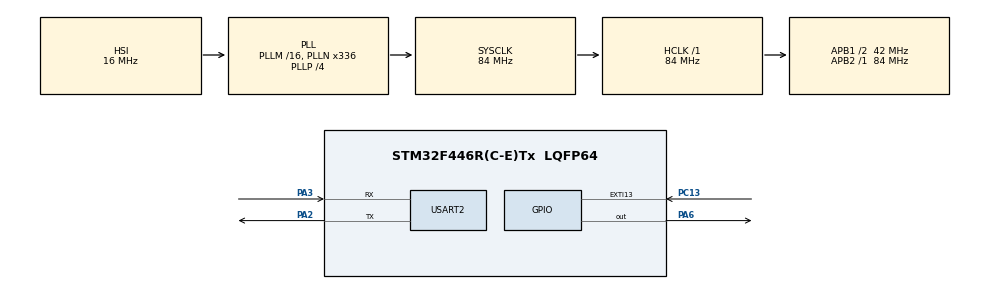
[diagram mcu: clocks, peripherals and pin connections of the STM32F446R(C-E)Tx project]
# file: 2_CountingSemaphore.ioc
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FREERTOS.CountingSemaphores01=CountingSem01,2,Dynamic,NULL,0
FREERTOS.Tasks01=defaultTask,0,128,StartDefaultTask,Default,NULL,Dynamic,NULL,NULL
FREERTOS.configUSE_COUNTING_SEMAPHORES=1
FREERTOS.configUSE_NEWLIB_REENTRANT=1
Mcu.Family=STM32F4
Mcu.Name=STM32F446R(C-E)Tx
Mcu.Package=LQFP64
NVIC.EXTI15_10_IRQn=true\:0\:0\:false\:false\:true\:false\:true\:true\:true
NVIC.PriorityGroup=NVIC_PRIORITYGROUP_4
NVIC.TIM6_DAC_IRQn=true\:15\:0\:false\:false\:true\:false\:false\:true\:true
NVIC.TimeBase=TIM6_DAC_IRQn
NVIC.TimeBaseIP=TIM6
PA2.Mode=Asynchronous
PA2.Signal=USART2_TX
PA3.Mode=Asynchronous
PA3.Signal=USART2_RX
PA6.Signal=GPIO_Output
PC13.Signal=GPXTI13
ProjectManager.HeapSize=0x200
ProjectManager.StackSize=0x400
ProjectManager.TargetToolchain=STM32CubeIDE
RCC.AHBFreq_Value=84000000
RCC.APB1CLKDivider=RCC_HCLK_DIV2
RCC.APB1Freq_Value=42000000
RCC.APB1TimFreq_Value=84000000
RCC.APB2Freq_Value=84000000
RCC.APB2TimFreq_Value=84000000
RCC.CortexFreq_Value=84000000
RCC.FLatency-AdvancedSettings=FLASH_LATENCY_2
RCC.HCLKFreq_Value=84000000
RCC.HSE_VALUE=8000000
RCC.HSI_VALUE=16000000
RCC.LSE_VALUE=32768
RCC.PLLN=336
RCC.PLLP=RCC_PLLP_DIV4
RCC.SYSCLKFreq_VALUE=84000000
RCC.SYSCLKSource=RCC_SYSCLKSOURCE_PLLCLK
RCC.USBFreq_Value=168000000
RCC.VCOOutputFreq_Value=336000000
USART2.VirtualMode=VM_ASYNC
VP_FREERTOS_VS_CMSIS_V1.Mode=CMSIS_V1
VP_SYS_VS_tim6.Mode=TIM6
board=NUCLEO-F446RE

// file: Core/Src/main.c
/* USER CODE BEGIN Header */
/**
  ******************************************************************************
  * @file           : main.c
  * @brief          : Main program body
  ******************************************************************************
  * @attention
  *
  * Copyright (c) 2026 STMicroelectronics.
  * All rights reserved.
  *
  * This software is licensed under terms that can be found in the LICENSE file
  * in the root directory of this software component.
  * If no LICENSE file comes with this software, it is provided AS-IS.
  *
  ******************************************************************************
  */
/* USER CODE END Header */
#include "main.h"

/* USER CODE BEGIN Includes */
#include "FreeRTOS.h"
#include "task.h"
#include "semphr.h"

/* USER CODE END Includes */

UART_HandleTypeDef huart2;

/* USER CODE BEGIN PV */
/************************Semaphore and Tasks Handles ********************************/
SemaphoreHandle_t CountingSemaphore_handle;

TaskHandle_t Task01_handle;
TaskHandle_t Task02_handle;
TaskHandle_t Task03_handle;

/********************* Task Definitions and Declarations ************************************/
void Task01_Entry(void* arguments){

	for(;;){
		// take the semaphore and do something
		xSemaphoreTake(CountingSemaphore_handle, portMAX_DELAY); //wait until semaphore is active
		HAL_UART_Transmit(&huart2, (uint8_t *)"Task 1 Running\r\n", 20, 10);
		vTaskDelay(pdMS_TO_TICKS(400)); //400 ms delay
		xSemaphoreGive(CountingSemaphore_handle);

		vTaskDelay(pdMS_TO_TICKS(500)); //block for 500ms
	}
}
void Task02_Entry(void* arguments){
	for(;;){
		// take the semaphore and do something
		xSemaphoreTake(CountingSemaphore_handle, portMAX_DELAY); //wait until semaphore is active
		HAL_UART_Transmit(&huart2, (uint8_t *)"Task 2 Running\r\n", 20, 10);
		vTaskDelay(pdMS_TO_TICKS(500)); //500 ms delay
		xSemaphoreGive(CountingSemaphore_handle);

		vTaskDelay(pdMS_TO_TICKS(500)); //block for 500ms
	}
}
void Task03_Entry(void* arguments){
	for(;;){
		// take the semaphore and do something
		xSemaphoreTake(CountingSemaphore_handle, portMAX_DELAY); //wait until semaphore is active
		HAL_UART_Transmit(&huart2, (uint8_t *)"Task 3 Running\r\n", 20, 10);
		vTaskDelay(pdMS_TO_TICKS(600)); //600 ms delay
		xSemaphoreGive(CountingSemaphore_handle);

		vTaskDelay(pdMS_TO_TICKS(500)); //block for 500ms
	}
}
/* USER CODE END PV */

void SystemClock_Config(void);
static void MX_GPIO_Init(void);
static void MX_USART2_UART_Init(void);
void StartDefaultTask(void const * argument);

int main(void)
{

  /* MCU Configuration--------------------------------------------------------*/

  /* Reset of all peripherals, Initializes the Flash interface and the Systick. */
  HAL_Init();

  /* Configure the system clock */
  SystemClock_Config();

  /* Initialize all configured peripherals */
  MX_GPIO_Init();
  MX_USART2_UART_Init();
  /* USER CODE BEGIN 2 */

  /******* Create Counting Semaphore **************/
  uint8_t Max_Count = 2;
  CountingSemaphore_handle = xSemaphoreCreateCounting(Max_Count, Max_Count);

  if(CountingSemaphore_handle == NULL){
	  HAL_UART_Transmit(&huart2, (uint8_t *)"Semaphore Not created\r\n", 23, 10);
  }else{
	  HAL_UART_Transmit(&huart2, (uint8_t *)"Semaphore created\r\n", 19, 10);
  }

  /******* Create Tasks **************/
  xTaskCreate(Task01_Entry, "Task01", 128, NULL, 3, &Task01_handle);
  xTaskCreate(Task02_Entry, "Task02", 128, NULL, 2, &Task02_handle);
  xTaskCreate(Task03_Entry, "Task03", 128, NULL, 1, &Task03_handle);

  /************Start the scheduler****/
  vTaskStartScheduler();

  /* USER CODE END 2 */

  /* We should never get here as control is now taken by the scheduler */

  /* Infinite loop */
  while (1)
  {

  }
}

void SystemClock_Config(void)
{
  RCC_OscInitTypeDef RCC_OscInitStruct = {0};
  RCC_ClkInitTypeDef RCC_ClkInitStruct = {0};

  /** Configure the main internal regulator output voltage
  */
  __HAL_RCC_PWR_CLK_ENABLE();
  __HAL_PWR_VOLTAGESCALING_CONFIG(PWR_REGULATOR_VOLTAGE_SCALE3);

  /** Initializes the RCC Oscillators according to the specified parameters
  * in the RCC_OscInitTypeDef structure.
  */
  RCC_OscInitStruct.OscillatorType = RCC_OSCILLATORTYPE_HSI;
  RCC_OscInitStruct.HSIState = RCC_HSI_ON;
  RCC_OscInitStruct.HSICalibrationValue = RCC_HSICALIBRATION_DEFAULT;
  RCC_OscInitStruct.PLL.PLLState = RCC_PLL_ON;
  RCC_OscInitStruct.PLL.PLLSource = RCC_PLLSOURCE_HSI;
  RCC_OscInitStruct.PLL.PLLM = 16;
  RCC_OscInitStruct.PLL.PLLN = 336;
  RCC_OscInitStruct.PLL.PLLP = RCC_PLLP_DIV4;
  RCC_OscInitStruct.PLL.PLLQ = 2;
  RCC_OscInitStruct.PLL.PLLR = 2;
  if (HAL_RCC_OscConfig(&RCC_OscInitStruct) != HAL_OK)
  {
    Error_Handler();
  }

  /** Initializes the CPU, AHB and APB buses clocks
  */
  RCC_ClkInitStruct.ClockType = RCC_CLOCKTYPE_HCLK|RCC_CLOCKTYPE_SYSCLK
                              |RCC_CLOCKTYPE_PCLK1|RCC_CLOCKTYPE_PCLK2;
  RCC_ClkInitStruct.SYSCLKSource = RCC_SYSCLKSOURCE_PLLCLK;
  RCC_ClkInitStruct.AHBCLKDivider = RCC_SYSCLK_DIV1;
  RCC_ClkInitStruct.APB1CLKDivider = RCC_HCLK_DIV2;
  RCC_ClkInitStruct.APB2CLKDivider = RCC_HCLK_DIV1;

  if (HAL_RCC_ClockConfig(&RCC_ClkInitStruct, FLASH_LATENCY_2) != HAL_OK)
  {
    Error_Handler();
  }
}

static void MX_USART2_UART_Init(void)
{

  huart2.Instance = USART2;
  huart2.Init.BaudRate = 115200;
  huart2.Init.WordLength = UART_WORDLENGTH_8B;
  huart2.Init.StopBits = UART_STOPBITS_1;
  huart2.Init.Parity = UART_PARITY_NONE;
  huart2.Init.Mode = UART_MODE_TX_RX;
  huart2.Init.HwFlowCtl = UART_HWCONTROL_NONE;
  huart2.Init.OverSampling = UART_OVERSAMPLING_16;
  if (HAL_UART_Init(&huart2) != HAL_OK)
  {
    Error_Handler();
  }

}

static void MX_GPIO_Init(void)
{
  GPIO_InitTypeDef GPIO_InitStruct = {0};

  /* GPIO Ports Clock Enable */
  __HAL_RCC_GPIOC_CLK_ENABLE();
  __HAL_RCC_GPIOA_CLK_ENABLE();

  /*Configure GPIO pin Output Level */
  HAL_GPIO_WritePin(GPIOA, GPIO_PIN_6, GPIO_PIN_RESET);

  /*Configure GPIO pin : PC13 */
  GPIO_InitStruct.Pin = GPIO_PIN_13;
  GPIO_InitStruct.Mode = GPIO_MODE_IT_RISING;
  GPIO_InitStruct.Pull = GPIO_NOPULL;
  HAL_GPIO_Init(GPIOC, &GPIO_InitStruct);

  /*Configure GPIO pin : PA6 */
  GPIO_InitStruct.Pin = GPIO_PIN_6;
  GPIO_InitStruct.Mode = GPIO_MODE_OUTPUT_PP;
  GPIO_InitStruct.Pull = GPIO_NOPULL;
  GPIO_InitStruct.Speed = GPIO_SPEED_FREQ_LOW;
  HAL_GPIO_Init(GPIOA, &GPIO_InitStruct);

  /* EXTI interrupt init*/
  HAL_NVIC_SetPriority(EXTI15_10_IRQn, 0, 0);
  HAL_NVIC_EnableIRQ(EXTI15_10_IRQn);

}

void HAL_TIM_PeriodElapsedCallback(TIM_HandleTypeDef *htim)
{
  if (htim->Instance == TIM6) {
    HAL_IncTick();
  }
}

void Error_Handler(void)
{
  __disable_irq();
  while (1)
  {
  }
}
